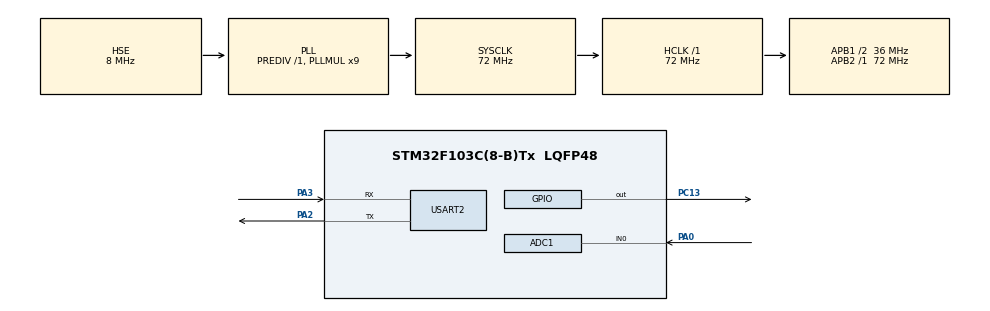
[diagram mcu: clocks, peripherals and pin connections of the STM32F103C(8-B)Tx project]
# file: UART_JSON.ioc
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Mcu.Family=STM32F1
RCC.PLLSourceVirtual=RCC_PLLSOURCE_HSE
ADC1.Rank-0\#ChannelRegularConversion=1
PD1-OSC_OUT.Mode=HSE-External-Oscillator
PC13-TAMPER-RTC.Signal=GPIO_Output
PD0-OSC_IN.Signal=RCC_OSC_IN
RCC.APB1CLKDivider=RCC_HCLK_DIV2
NVIC.USART2_IRQn=true\:1\:0\:true\:false\:true\:true\:true
RCC.SYSCLKSource=RCC_SYSCLKSOURCE_PLLCLK
ProjectManager.StackSize=0x400
PA0-WKUP.Signal=ADCx_IN0
PD1-OSC_OUT.Signal=RCC_OSC_OUT
RCC.ADCPresc=RCC_ADCPCLK2_DIV6
PA13.Signal=SYS_JTMS-SWDIO
PA3.Mode=Asynchronous
ProjectManager.TargetToolchain=STM32CubeIDE
RCC.HCLKFreq_Value=72000000
RCC.APB2TimFreq_Value=72000000
RCC.USBFreq_Value=72000000
RCC.AHBFreq_Value=72000000
PD0-OSC_IN.Mode=HSE-External-Oscillator
ADC1.Channel-0\#ChannelRegularConversion=ADC_CHANNEL_0
board=custom
RCC.PLLMUL=RCC_PLL_MUL9
RCC.APB2Freq_Value=72000000
PA14.Mode=Serial_Wire
SH.ADCx_IN0.0=ADC1_IN0,IN0
PA13.Mode=Serial_Wire
Mcu.Name=STM32F103C(8-B)Tx
ADC1.SamplingTime-0\#ChannelRegularConversion=ADC_SAMPLETIME_1CYCLE_5
PA2.Signal=USART2_TX
RCC.SYSCLKFreq_VALUE=72000000
Mcu.Package=LQFP48
ADC1.master=1
USART2.VirtualMode=VM_ASYNC
PA14.Signal=SYS_JTCK-SWCLK
ProjectManager.HeapSize=0x200
NVIC.PriorityGroup=NVIC_PRIORITYGROUP_4
ADC1.NbrOfConversionFlag=1
RCC.APB1TimFreq_Value=72000000
PA2.Mode=Asynchronous
RCC.APB1Freq_Value=36000000
PA3.Signal=USART2_RX

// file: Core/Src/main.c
/* USER CODE BEGIN Header */
/**
 ******************************************************************************
 * @file           : main.c
 * @brief          : Main program body
 ******************************************************************************
 * @attention
 *
 * <h2><center>&copy; Copyright (c) 2022 STMicroelectronics.
 * All rights reserved.</center></h2>
 *
 * This software component is licensed by ST under BSD 3-Clause license,
 * the "License"; You may not use this file except in compliance with the
 * License. You may obtain a copy of the License at:
 *                        opensource.org/licenses/BSD-3-Clause
 *
 ******************************************************************************
 */
/* USER CODE END Header */
#include "main.h"

/* USER CODE BEGIN Includes */
#include "stdio.h"
#include <stdbool.h>
#include <stdint.h>
#include <string.h>
#include <stdlib.h>
#include "cJSON.h"
/* USER CODE END Includes */

ADC_HandleTypeDef hadc1;

UART_HandleTypeDef huart2;

/* USER CODE BEGIN PV */
// Transmit Print
#ifdef __GNUC__
#define PUTCHAR_PROTOTYPE int __io_putchar(int ch)
#else
#define PUTCHAR_PROTOTYPE int fputc(int ch,FILE *f)
#endif
PUTCHAR_PROTOTYPE {
	// CONG PC
	HAL_UART_Transmit(&huart2, (uint8_t*) &ch, 1, 0xFFFF);
	return ch;
}

void senddata(unsigned temp, unsigned gas, unsigned hum);
void HAL_UART_RxCpltCallback(UART_HandleTypeDef *huart);
void XulyJson(char *DataJson);

unsigned int temp = 0;
unsigned int gas = 0;
unsigned int hum = 0;
unsigned int TB1 = 0;
unsigned int TB2 = 0;

char Str_temp[50];
char Str_gas[50];
char Str_hum[50];
char Str_TB1[50];
char Str_TB2[50];
char JSON[50];

uint8_t rec;
uint8_t i;
char buffer[100];
char null;

cJSON *str_json, *str_TB1, *str_TB2, *str_Mode;
/* USER CODE END PV */

void SystemClock_Config(void);
static void MX_GPIO_Init(void);
static void MX_ADC1_Init(void);
static void MX_USART2_UART_Init(void);

/* USER CODE BEGIN 0 */
void XulyJson(char *DataJson) {
	str_json = cJSON_Parse(DataJson);
	if (!str_json) {
		printf("JSON ERROR!\r\n");
		return;
	} else {
		printf("JSON OK\r\n");
		// {"TB1" :"1-0",...}
		if (cJSON_GetObjectItem(str_json, "TB1"))
		{
			TB1 = atoi(cJSON_GetObjectItem(str_json, "TB1") -> valuestring);
			HAL_GPIO_WritePin(GPIOC, GPIO_PIN_13, TB1);
			/*
			if (strstr(cJSON_GetObjectItem(str_json, "TB1")->valuestring, "0")!= NULL) {
				TB1 = atoi(cJSON_GetObjectItem(str_json, "TB1") -> valuestring);
				printf("OFF LED 1");
				HAL_GPIO_WritePin(GPIOC, GPIO_PIN_13, TB1);
			} else if (strstr(cJSON_GetObjectItem(str_json, "TB1")->valuestring, "1") != NULL) {
				printf("ON LED 1");
				HAL_GPIO_WritePin(GPIOC, GPIO_PIN_13, 0);
			}
			*/
		}
		 if (cJSON_GetObjectItem(str_json, "TB2"))
		{
			if (strstr(cJSON_GetObjectItem(str_json, "TB2")->valuestring, "0") != NULL) {
				printf("OFF LED 2");
			} else if (strstr(cJSON_GetObjectItem(str_json, "TB2")->valuestring, "1") != NULL) {
				printf("ON LED 2");
			}

		}
		 /*
		 if(cJSON_GetObjectItem(str_json, "C1"))
		 {
			 C1 = atoi(cJSON_GetObjectItem(str_json, "C1") -> valuestring);
			 // convert from char	 to int
		 }
		 */
		cJSON_Delete(str_json);
	}
}
void senddata(unsigned temp, unsigned gas, unsigned hum) {
	/* // {"temp":" 69*c", "gas":"1",...}  */

	// data end of array char
	// delete data
	for (int i = 0; i < 50; i++) {
		Str_temp[i] = 0;
		Str_gas[i] = 0;
		Str_hum[i] = 0;
		Str_TB1[i] = 0;
		Str_TB2[i] = 0;
		JSON[i] = 0;
	}

	// transmit to array char

	sprintf(Str_temp, "%d", temp);
	sprintf(Str_gas, "%d", gas);
	sprintf(Str_hum, "%d", hum);
	sprintf(Str_TB1, "%d", TB1);
	sprintf(Str_TB2, "%d", TB2);

	// {"tempt":"12","gas":"12","hum":"43"}

	strcat(JSON, "{\"tempt\":\"");
	strcat(JSON, Str_temp);
	strcat(JSON, "\",");

	strcat(JSON, "\"hum\":\"");
	strcat(JSON, Str_hum);
	strcat(JSON, "\",");

	strcat(JSON, "\"gas\":\"");
	strcat(JSON, Str_gas);
	strcat(JSON, "\",");

	strcat(JSON, "\"TB1\":\"");
	strcat(JSON, Str_TB1);
	strcat(JSON, "\",");

	strcat(JSON, "\"TB2\":\"");
	strcat(JSON, Str_TB2);
	strcat(JSON, "\"}");

	printf("%s\r\n", JSON);

}

void HAL_UART_RxCpltCallback(UART_HandleTypeDef *huart) {
	if (huart->Instance == huart2.Instance) {
		if (rec != 13) {
			buffer[i++] = rec;
		}

		else if (rec == 13) {
			//	printf("da nhan %s\n",buffer);
			// phan tich thuc hien
			XulyJson(buffer);
			i = 0;
			for (int cnt = 0; cnt < sizeof(buffer); cnt++) {
				buffer[cnt] = null;
			}

		}
		HAL_UART_Receive_IT(&huart2, &rec, 1);
	}
}
/* USER CODE END 0 */

int main(void)
{

  /* MCU Configuration--------------------------------------------------------*/

  /* Reset of all peripherals, Initializes the Flash interface and the Systick. */
  HAL_Init();

  /* Configure the system clock */
  SystemClock_Config();

  /* Initialize all configured peripherals */
  MX_GPIO_Init();
  MX_ADC1_Init();
  MX_USART2_UART_Init();
  /* USER CODE BEGIN 2 */
	HAL_UART_Receive_IT(&huart2, &rec, 1);
  /* USER CODE END 2 */

  /* Infinite loop */
  /* USER CODE BEGIN WHILE */
	while (1) {
		temp++;
		gas += 2;
		senddata(temp, gas, hum);
		HAL_Delay(1000);
    /* USER CODE END WHILE */

	}
}

void SystemClock_Config(void)
{
  RCC_OscInitTypeDef RCC_OscInitStruct = {0};
  RCC_ClkInitTypeDef RCC_ClkInitStruct = {0};
  RCC_PeriphCLKInitTypeDef PeriphClkInit = {0};

  /** Initializes the RCC Oscillators according to the specified parameters
  * in the RCC_OscInitTypeDef structure.
  */
  RCC_OscInitStruct.OscillatorType = RCC_OSCILLATORTYPE_HSE;
  RCC_OscInitStruct.HSEState = RCC_HSE_ON;
  RCC_OscInitStruct.HSEPredivValue = RCC_HSE_PREDIV_DIV1;
  RCC_OscInitStruct.HSIState = RCC_HSI_ON;
  RCC_OscInitStruct.PLL.PLLState = RCC_PLL_ON;
  RCC_OscInitStruct.PLL.PLLSource = RCC_PLLSOURCE_HSE;
  RCC_OscInitStruct.PLL.PLLMUL = RCC_PLL_MUL9;
  if (HAL_RCC_OscConfig(&RCC_OscInitStruct) != HAL_OK)
  {
    Error_Handler();
  }
  /** Initializes the CPU, AHB and APB buses clocks
  */
  RCC_ClkInitStruct.ClockType = RCC_CLOCKTYPE_HCLK|RCC_CLOCKTYPE_SYSCLK
                              |RCC_CLOCKTYPE_PCLK1|RCC_CLOCKTYPE_PCLK2;
  RCC_ClkInitStruct.SYSCLKSource = RCC_SYSCLKSOURCE_PLLCLK;
  RCC_ClkInitStruct.AHBCLKDivider = RCC_SYSCLK_DIV1;
  RCC_ClkInitStruct.APB1CLKDivider = RCC_HCLK_DIV2;
  RCC_ClkInitStruct.APB2CLKDivider = RCC_HCLK_DIV1;

  if (HAL_RCC_ClockConfig(&RCC_ClkInitStruct, FLASH_LATENCY_2) != HAL_OK)
  {
    Error_Handler();
  }
  PeriphClkInit.PeriphClockSelection = RCC_PERIPHCLK_ADC;
  PeriphClkInit.AdcClockSelection = RCC_ADCPCLK2_DIV6;
  if (HAL_RCCEx_PeriphCLKConfig(&PeriphClkInit) != HAL_OK)
  {
    Error_Handler();
  }
}

static void MX_ADC1_Init(void)
{

  ADC_ChannelConfTypeDef sConfig = {0};

  /** Common config
  */
  hadc1.Instance = ADC1;
  hadc1.Init.ScanConvMode = ADC_SCAN_DISABLE;
  hadc1.Init.ContinuousConvMode = DISABLE;
  hadc1.Init.DiscontinuousConvMode = DISABLE;
  hadc1.Init.ExternalTrigConv = ADC_SOFTWARE_START;
  hadc1.Init.DataAlign = ADC_DATAALIGN_RIGHT;
  hadc1.Init.NbrOfConversion = 1;
  if (HAL_ADC_Init(&hadc1) != HAL_OK)
  {
    Error_Handler();
  }
  /** Configure Regular Channel
  */
  sConfig.Channel = ADC_CHANNEL_0;
  sConfig.Rank = ADC_REGULAR_RANK_1;
  sConfig.SamplingTime = ADC_SAMPLETIME_1CYCLE_5;
  if (HAL_ADC_ConfigChannel(&hadc1, &sConfig) != HAL_OK)
  {
    Error_Handler();
  }

}

static void MX_USART2_UART_Init(void)
{

  huart2.Instance = USART2;
  huart2.Init.BaudRate = 115200;
  huart2.Init.WordLength = UART_WORDLENGTH_8B;
  huart2.Init.StopBits = UART_STOPBITS_1;
  huart2.Init.Parity = UART_PARITY_NONE;
  huart2.Init.Mode = UART_MODE_TX_RX;
  huart2.Init.HwFlowCtl = UART_HWCONTROL_NONE;
  huart2.Init.OverSampling = UART_OVERSAMPLING_16;
  if (HAL_UART_Init(&huart2) != HAL_OK)
  {
    Error_Handler();
  }

}

static void MX_GPIO_Init(void)
{
  GPIO_InitTypeDef GPIO_InitStruct = {0};

  /* GPIO Ports Clock Enable */
  __HAL_RCC_GPIOC_CLK_ENABLE();
  __HAL_RCC_GPIOD_CLK_ENABLE();
  __HAL_RCC_GPIOA_CLK_ENABLE();

  /*Configure GPIO pin Output Level */
  HAL_GPIO_WritePin(GPIOC, GPIO_PIN_13, GPIO_PIN_RESET);

  /*Configure GPIO pin : PC13 */
  GPIO_InitStruct.Pin = GPIO_PIN_13;
  GPIO_InitStruct.Mode = GPIO_MODE_OUTPUT_PP;
  GPIO_InitStruct.Pull = GPIO_NOPULL;
  GPIO_InitStruct.Speed = GPIO_SPEED_FREQ_LOW;
  HAL_GPIO_Init(GPIOC, &GPIO_InitStruct);

}

void Error_Handler(void)
{
	__disable_irq();
	while (1) {
	}
}

/************************ (C) COPYRIGHT STMicroelectronics *****END OF FILE****/
